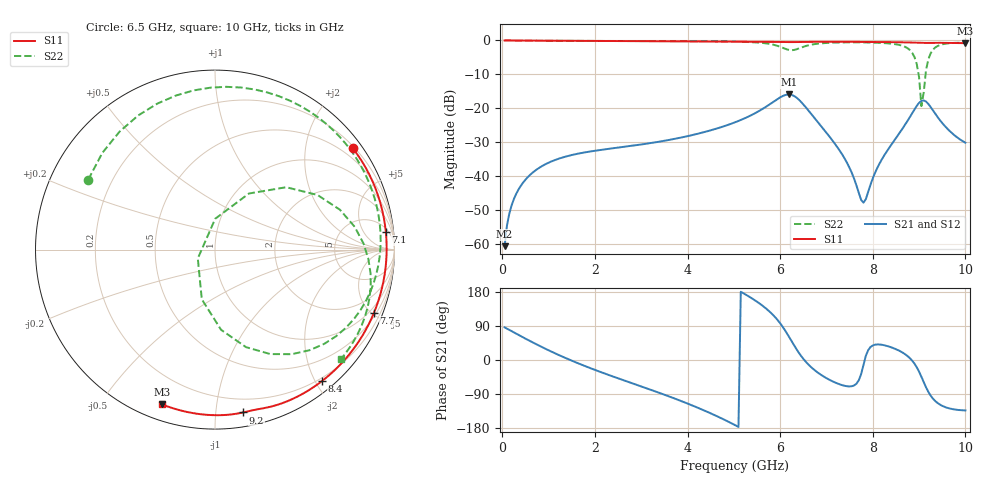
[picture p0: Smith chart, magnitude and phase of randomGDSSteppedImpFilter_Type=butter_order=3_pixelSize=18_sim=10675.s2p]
! freq	dB(S11)	phase(S11)	dB(S12)	phase(S12)
!  dB(S21)	phase(S21)	dB(S22)	phase(S22)
!S-par simulation data
#  GHz  S  DB  R 50
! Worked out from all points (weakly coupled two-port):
!   200 points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, 50 MHz to 10 GHz, reference 50 ohm
!   highest |S21| = -15.91 dB at 6.2 GHz (marker M1); lowest = -60.6 dB at 50 MHz (marker M2)
!   lowest |S11| = -0.8 dB at 10 GHz (marker M3), VSWR 21.59, Z = 3.5 - j35.6 ohm
!   |S11| at or under -10 dB: nowhere
!   |S22| runs from -19.3 to 0.0 dB; largest |S21 - S12| = 0
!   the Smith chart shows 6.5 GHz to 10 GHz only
!   S11 on the Smith chart (normalised r, x): 6.5 GHz: 0.25, +3.03; 7.1 GHz: 7, +16; 7.7 GHz: 0.66, -5.12; 8.4 GHz: 0.15, -2.09; 9.2 GHz: 0.10, -1.18; 10 GHz: 0.07, -0.71
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0.05  -0.00 -2.5  -60.58 86.0  -60.58 86.0  -0.00 -4.4
0.2  -0.01 -9.9  -48.61 76.2  -48.61 76.2  -0.02 -17.3
0.5  -0.03 -24.6  -41.00 56.4  -41.00 56.4  -0.06 -42.3
1.05  -0.07 -51.4  -35.69 22.7  -35.69 22.7  -0.10 -83.9
1.75  -0.11 -84.8  -33.04 -14.3  -33.04 -14.3  -0.13 -127.4
3.4  -0.20 -162.5  -29.78 -87.1  -29.78 -87.1  -0.18 154.9
5.05  -0.32 113.5  -23.98 -173.4  -23.98 -173.4  -0.36 76.1
5.5  -0.37 89.0  -21.12 153.9  -21.12 153.9  -0.60 42.6
5.85  -0.43 70.0  -18.10 118.4  -18.10 118.4  -1.24 -2.5
6.2  -0.49 51.7  -15.91 59.5  -15.91 59.5  -2.82 -103.8
6.35  -0.46 44.1  -16.80 29.0  -16.80 29.0  -2.62 -162.9
6.5  -0.42 36.3  -18.82 3.2  -18.82 3.2  -1.87 151.1
6.7  -0.39 25.9  -22.12 -22.3  -22.12 -22.3  -1.17 111.6
7.1  -0.38 5.9  -28.93 -54.5  -28.93 -54.5  -0.67 67.3
7.7  -0.42 -21.8  -44.97 -53.1  -44.97 -53.1  -0.57 26.5
8.35  -0.49 -49.0  -31.70 35.5  -31.70 35.5  -0.88 -12.1
8.4  -0.50 -50.9  -30.71 33.4  -30.71 33.4  -0.95 -15.4
8.9  -0.64 -70.2  -20.32 -9.5  -20.32 -9.5  -4.88 -72.4
9.05  -0.72 -75.3  -17.78 -44.3  -17.78 -44.3  -19.34 -152.7
9.2  -0.72 -80.3  -18.70 -84.1  -18.70 -84.1  -5.55 41.2
9.45  -0.70 -89.2  -23.46 -117.6  -23.46 -117.6  -1.34 -3.6
10  -0.81 -108.9  -30.11 -133.0  -30.11 -133.0  -0.63 -40.8
